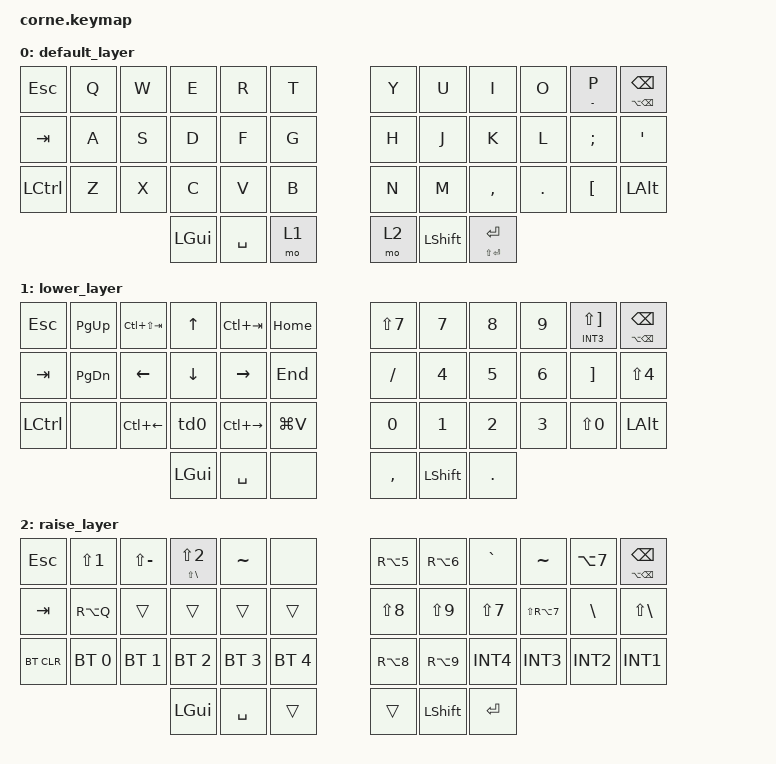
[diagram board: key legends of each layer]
/*
 * Copyright (c) 2020 The ZMK Contributors
 *
 * SPDX-License-Identifier: MIT
 */

#include <behaviors.dtsi>
#include <dt-bindings/zmk/keys.h>
#include <dt-bindings/zmk/bt.h> 

/ {
    behaviors {
        td0: tap_dance_0 {
            compatible = "zmk,behavior-tap-dance";
            label = "TAP_DANCE_0";
            #binding-cells = <0>;
            tapping-term-ms = <200>;
            bindings = <&kp LG(C)> , <&kp  LG(X)>;
        };
    };

    keymap {
        compatible = "zmk,keymap";

        default_layer {
            bindings = <
                &td0
            >;
        };
    };
};


/ {
        keymap {
                compatible = "zmk,keymap";

                default_layer {
// -----------------------------------------------------------------------------------------
// |  ESC |  Q  |  W  |  E  |  R  |  T  |   |  Z  |  U   |  I  |  O  | P/ß | BACKSP   |
// | TAB  |  A  |  S  |  D  |  F  |  G  |   |  H  |  J   |  K  |  L  |  Ö  |   Ä      |
// | CTRL |  Y  |  X  |  C  |  V  |  B  |   |  N  |  M   |  ,  |  .  |  Ü  |  LALT    |
//                    | GUI | SPC | MAT |   | SDR | SHFT | RET |
                        bindings = <
   &kp ESC   &kp Q     &kp W &kp E &kp R &kp T   &kp Y &kp U       &kp I     &kp O   &mt MINUS P    &mt LA(BSPC) BSPC 
   &kp TAB   &kp A     &kp S &kp D &kp F &kp G   &kp H &kp J       &kp K     &kp L   &kp SEMI &kp SQT
   &kp LCTRL &kp Z     &kp X &kp C &kp V &kp B   &kp N &kp M       &kp COMMA &kp DOT &kp LBKT &kp LALT
                  &kp LGUI &kp SPACE &mo 1   &mo 2 &kp LSHFT &mt LS(RET) RET
                        >;
                };
                lower_layer {
// -----------------------------------------------------------------------------------------
// |  ESC | PG-UP   | LTAB |  UP | RTAB |  HOME |   |  /  |   7  |  8  |  9  |  *  | BKSP |
// |  TAB | PG-DWN  |  LFT | DWN |  RGT |  END  |   |  -  |   4  |  5  |  6  |  +  |   $  |
// | CTRL |         |DesktL| Copy|DesktR| Paste |   |  0  |   1  |  2  |  3  |  =  | ALT  | 
//                         | GUI | SPC  |  ---  |   |  ,  | SHFT |  .  |
                        bindings = <
   &kp ESC    &kp PG_UP  &kp LC(LS(TAB)) &kp UP    &kp LC(TAB)    &kp HOME         &kp LS(N7) &kp N7   &kp N8 &kp N9   &mt INT3 LS(RBKT) &mt LA(BSPC) BSPC 
   &kp TAB    &kp PG_DN  &kp LEFT        &kp DOWN  &kp RIGHT      &kp END          &kp FSLH   &kp N4   &kp N5 &kp N6   &kp RBKT     &kp LS(N4)
   &kp LCTRL  &none      &kp LC(LEFT)    &td0      &kp LC(RIGHT)  &kp LG(V)        &kp N0     &kp N1   &kp N2 &kp N3   &kp LS(N0)   &kp LALT
                          	             &kp LGUI  &kp SPACE      &none            &kp COMMA  &kp LSHFT  &kp DOT
                        >;
                }; 

                raise_layer {
// -----------------------------------------------------------------------------------------
// |  ESC   |  !  |  ?  |  "  |   '  |     |   |  [  |  ]   |  <  |  >  | "|" | BKSP |
// |  TAB   |     |     |     |      |     |   |  (  |  )   |  /  |  \  |  #  |      |
// | BT_CLR | BT0 | BT1 | BT2 | BT3  | BT4 |   |  {  |  }   |   ^?  |   ^?| ^?  |   ^? |
//                      | GUI |      | SPC |   |     | SHFT | RET |
                        bindings = <
   &kp ESC    &kp LS(N1)   &kp LS(MINUS) &mt LS(BSLH) LS(N2)   &kp TILDE    &none    &kp RA(N5) &kp RA(N6) &kp GRAVE  &kp TILDE           &kp LA(7)   &mt LA(BSPC) BSPC
   &kp TAB    &kp RA(Q)    &trans        &trans            &trans       &trans       &kp LS(N8) &kp LS(N9) &kp LS(N7) &kp LS(RA(N7))  &kp BSLH    &kp LS(BSLH)
   &bt BT_CLR &bt BT_SEL 0 &bt BT_SEL 1  &bt BT_SEL 2      &bt BT_SEL 3 &bt BT_SEL 4 &kp RA(N8) &kp RA(N9) &kp INT4   &kp INT3        &kp INT2      &kp INT1
                    	     &kp LGUI     &kp SPACE      &trans       &trans      &kp LSHFT &kp RET
                        >;
                };
        } ;
};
